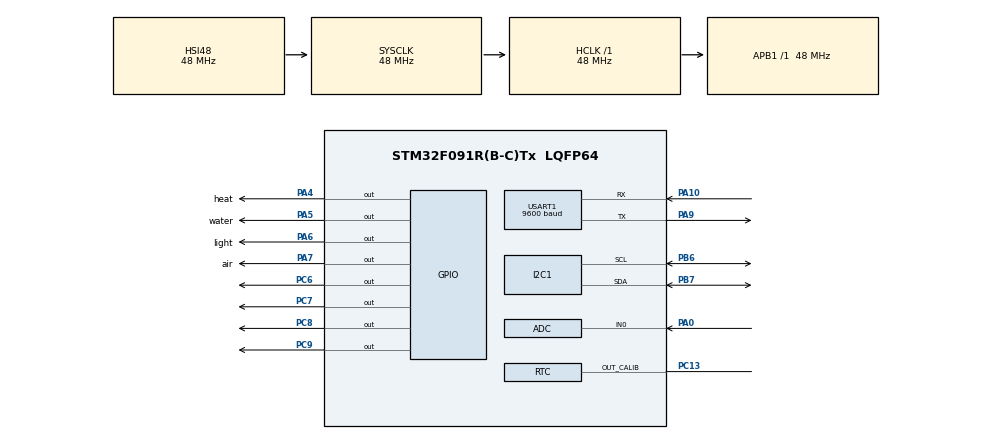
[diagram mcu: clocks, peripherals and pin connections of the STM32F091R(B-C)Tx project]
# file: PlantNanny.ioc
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ADC.DataAlign=ADC_DATAALIGN_RIGHT
ADC.Resolution=ADC_RESOLUTION_8B
ADC.SamplingTime=ADC_SAMPLETIME_1CYCLE_5
Mcu.Family=STM32F0
Mcu.Name=STM32F091R(B-C)Tx
Mcu.Package=LQFP64
NVIC.USART1_IRQn=true\:0\:0\:false\:false\:true\:true\:true
PA0.Mode=IN0
PA0.Signal=ADC_IN0
PA10.Mode=Asynchronous
PA10.Signal=USART1_RX
PA4.GPIO_Label=heat
PA4.Signal=GPIO_Output
PA5.GPIO_Label=water
PA5.Signal=GPIO_Output
PA6.GPIO_Label=light
PA6.Signal=GPIO_Output
PA7.GPIO_Label=air
PA7.Signal=GPIO_Output
PA9.Mode=Asynchronous
PA9.Signal=USART1_TX
PB6.GPIO_Pu=GPIO_PULLUP
PB6.Mode=I2C
PB6.Signal=I2C1_SCL
PB7.GPIO_Pu=GPIO_PULLUP
PB7.Mode=I2C
PB7.Signal=I2C1_SDA
PC13.Mode=Calibration_1Hz
PC13.Signal=RTC_OUT_CALIB
PC6.PinState=GPIO_PIN_RESET
PC6.Signal=GPIO_Output
PC7.Signal=GPIO_Output
PC8.PinState=GPIO_PIN_RESET
PC8.Signal=GPIO_Output
PC9.Signal=GPIO_Output
ProjectManager.HeapSize=0x200
ProjectManager.StackSize=0x400
ProjectManager.TargetToolchain=STM32CubeIDE
RCC.AHBFreq_Value=48000000
RCC.APB1Freq_Value=48000000
RCC.APB1TimFreq_Value=48000000
RCC.HCLKFreq_Value=48000000
RCC.PLLMUL=RCC_PLL_MUL16
RCC.SYSCLKFreq_VALUE=48000000
RCC.SYSCLKSource=RCC_SYSCLKSOURCE_HSI48
USART1.BaudRate=9600
USART1.DMADisableonRxErrorParam=ADVFEATURE_DMA_DISABLEONRXERROR
USART1.Mode=MODE_TX_RX
USART1.OverrunDisableParam=ADVFEATURE_OVERRUN_DISABLE
USART1.VirtualMode-Asynchronous=VM_ASYNC
USART1.VirtualMode-Half_duplex(single_wire_mode)=VM_ASYNC
VP_RTC_VS_RTC_Activate.Mode=RTC_Enabled
board=custom

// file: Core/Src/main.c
/* USER CODE BEGIN Header */
/**
  ******************************************************************************
  * @file           : main.c
  * @brief          : Main program body
  ******************************************************************************
  * @attention
  *
  * <h2><center>&copy; Copyright (c) 2021 STMicroelectronics.
  * All rights reserved.</center></h2>
  *
  * This software component is licensed by ST under BSD 3-Clause license,
  * the "License"; You may not use this file except in compliance with the
  * License. You may obtain a copy of the License at:
  *                        opensource.org/licenses/BSD-3-Clause
  *
  ******************************************************************************
  */
/* USER CODE END Header */
#include "main.h"

/* USER CODE BEGIN Includes */
#include <stdio.h>
#include <string.h>
//#include <eeprom.h>

/* USER CODE END Includes */

/* USER CODE BEGIN PD */
#define CCS811_I2C_ADDR 0x5A
#define CCS811_BOOTLOADER_APP_START 0xF4
#define CCS811_REG_STATUS 0x00
#define CCS811_REG_MEAS_MODE 0x01
#define CCS811_REG_ALG_RESULT_DATA 0x02
#define CCS811_REG_ERROR_ID 0xE0

#define SHT30_I2C_ADDR 0x44
#define SHT30_COMMAND_READ_ONESHOT 0x2C10
#define SHT30_COMMAND_START_PERIODIC 0x2B32
#define SHT30_COMMAND_STOP_PERIODIC 0x3093
#define SHT30_COMMAND_READ_DATA 0xE000  // followed by I2C read header, returns 6 bytes (temp MSB, temp LSB, CRC, hum MSB, hum LSB, CRC)
#define SHT30_COMMAND_SOFT_RESET 0x30A2
#define SHT30_COMMAND_START_HEATER 0x306D
#define SHT30_COMMAND_STOP_HEATER 0x3066
#define SHT30_COMMAND_READ_STATUS 0xF32D // followed by I2C read header, returns 3 bytes (register MSB, register LSB, CRC)
#define SHT30_COMMAND_CLEAR_STATUS 0x3041

#define I2C_GENERAL_CALL_RESET 0x0006

/* USER CODE END PD */

ADC_HandleTypeDef hadc;

I2C_HandleTypeDef hi2c1;

RTC_HandleTypeDef hrtc;

UART_HandleTypeDef huart1;

/* USER CODE BEGIN PV */
typedef struct
{
  uint8_t name[128];
  uint16_t air;
  uint16_t heat;
  uint16_t water;
} environment_t;

typedef struct
{
  uint8_t name[128];
  uint16_t air;
  uint16_t heat;
  uint16_t light;
  uint16_t water;
} setpoint_t;

static volatile uint8_t uart_recv[128] = {0};
static volatile environment_t conditions = {0};
static volatile setpoint_t setpoints = {0};
static volatile uint8_t enable_auto = 0;
static volatile RTC_TimeTypeDef time = {0};
static volatile RTC_DateTypeDef date = {0};
const uint32_t FLASH_DATA_ADDR = 0x0803F000;

/* USER CODE END PV */

void SystemClock_Config(void);
static void MX_GPIO_Init(void);
static void MX_ADC_Init(void);
static void MX_USART1_UART_Init(void);
static void MX_I2C1_Init(void);
static void MX_RTC_Init(void);
/* USER CODE BEGIN PFP */

void flash_write(uint32_t page_address, uint32_t *data, uint32_t num_bytes);
void flash_read(uint32_t page_address, uint8_t *data, uint32_t num_bytes);

static uint8_t CCS811_begin(void);
static uint16_t CCS811_get_eCO2(void);
static void CCS811_check_status(void);

static void SHT30_begin(void);
static uint16_t SHT30_get_temp(void);

static uint16_t EK1940_get_moisture(void);

/* USER CODE END PFP */

int main(void)
{

  /* MCU Configuration--------------------------------------------------------*/

  /* Reset of all peripherals, Initializes the Flash interface and the Systick. */
  HAL_Init();

  /* Configure the system clock */
  SystemClock_Config();

  /* Initialize all configured peripherals */
  MX_GPIO_Init();
  MX_ADC_Init();
  MX_USART1_UART_Init();
  MX_I2C1_Init();
  MX_RTC_Init();
  /* USER CODE BEGIN 2 */

  // initialize sensors

  HAL_Delay(1000);
  HAL_ADCEx_Calibration_Start(&hadc);
  CCS811_begin();
  SHT30_begin();

  // prep first rx transfer
  HAL_UART_Receive_IT(&huart1, uart_recv, 1);

  // demo setpoints
//  strcpy(setpoints.name, "demo");
//  setpoints.air = 550;
//  setpoints.light = 24;
//  setpoints.heat = 81;
//  setpoints.water = 60;
//  enable_auto = 1;

//  uint32_t addr = 0x0803F000;
//  uint64_t data = 0x0123456789ABCDEF;
//  uint64_t data_read = 0;
//  flash_write(addr, &data, 8);
//  flash_read(addr, &data_read, 8);

//  uint32_t sz = sizeof(setpoints);
//  flash_write(addr, &setpoints, sizeof(setpoints));
//  flash_read(addr, &setpoints, sizeof(setpoints));

  flash_read(FLASH_DATA_ADDR, &setpoints, sizeof(setpoints));
  if (setpoints.name[0] != 0xFF)
  {
    enable_auto = 1;
  }

  /* USER CODE END 2 */

  /* Infinite loop */
  /* USER CODE BEGIN WHILE */
  while (1)
  {
    // polling delay
    HAL_Delay(1000);

    // read sensors
    HAL_RTC_GetTime(&hrtc, &time, RTC_FORMAT_BIN);
    HAL_RTC_GetDate(&hrtc, &date, RTC_FORMAT_BIN);
    uint16_t hours = time.Hours;
    uint16_t moisture = EK1940_get_moisture();
    uint16_t co2 = CCS811_get_eCO2();
    uint16_t temp = SHT30_get_temp();

    // update conditions
    conditions.air = co2;
    conditions.heat = temp;
    conditions.water = moisture;

    // if auto control is on, toggle actuators appropriately
    if (enable_auto)
    {
      memcpy(conditions.name, setpoints.name, 128);
      HAL_GPIO_WritePin(light_GPIO_Port,  light_Pin,  (hours < setpoints.light));
      HAL_GPIO_WritePin(air_GPIO_Port,    air_Pin,    (co2 < setpoints.air));
      HAL_GPIO_WritePin(heat_GPIO_Port,   heat_Pin,   (temp < setpoints.heat));
      HAL_GPIO_WritePin(water_GPIO_Port,  water_Pin,  (moisture < setpoints.water));
    }
    /* USER CODE END WHILE */

  }
}

void SystemClock_Config(void)
{
  RCC_OscInitTypeDef RCC_OscInitStruct = {0};
  RCC_ClkInitTypeDef RCC_ClkInitStruct = {0};
  RCC_PeriphCLKInitTypeDef PeriphClkInit = {0};

  /** Initializes the RCC Oscillators according to the specified parameters
  * in the RCC_OscInitTypeDef structure.
  */
  RCC_OscInitStruct.OscillatorType = RCC_OSCILLATORTYPE_HSI|RCC_OSCILLATORTYPE_HSI14
                              |RCC_OSCILLATORTYPE_HSI48|RCC_OSCILLATORTYPE_LSI;
  RCC_OscInitStruct.HSIState = RCC_HSI_ON;
  RCC_OscInitStruct.HSI48State = RCC_HSI48_ON;
  RCC_OscInitStruct.HSI14State = RCC_HSI14_ON;
  RCC_OscInitStruct.HSICalibrationValue = RCC_HSICALIBRATION_DEFAULT;
  RCC_OscInitStruct.HSI14CalibrationValue = 16;
  RCC_OscInitStruct.LSIState = RCC_LSI_ON;
  RCC_OscInitStruct.PLL.PLLState = RCC_PLL_NONE;
  if (HAL_RCC_OscConfig(&RCC_OscInitStruct) != HAL_OK)
  {
    Error_Handler();
  }
  /** Initializes the CPU, AHB and APB buses clocks
  */
  RCC_ClkInitStruct.ClockType = RCC_CLOCKTYPE_HCLK|RCC_CLOCKTYPE_SYSCLK
                              |RCC_CLOCKTYPE_PCLK1;
  RCC_ClkInitStruct.SYSCLKSource = RCC_SYSCLKSOURCE_HSI48;
  RCC_ClkInitStruct.AHBCLKDivider = RCC_SYSCLK_DIV1;
  RCC_ClkInitStruct.APB1CLKDivider = RCC_HCLK_DIV1;

  if (HAL_RCC_ClockConfig(&RCC_ClkInitStruct, FLASH_LATENCY_1) != HAL_OK)
  {
    Error_Handler();
  }
  PeriphClkInit.PeriphClockSelection = RCC_PERIPHCLK_USART1|RCC_PERIPHCLK_I2C1
                              |RCC_PERIPHCLK_RTC;
  PeriphClkInit.Usart1ClockSelection = RCC_USART1CLKSOURCE_PCLK1;
  PeriphClkInit.I2c1ClockSelection = RCC_I2C1CLKSOURCE_HSI;
  PeriphClkInit.RTCClockSelection = RCC_RTCCLKSOURCE_LSI;
  if (HAL_RCCEx_PeriphCLKConfig(&PeriphClkInit) != HAL_OK)
  {
    Error_Handler();
  }
}

static void MX_ADC_Init(void)
{

  ADC_ChannelConfTypeDef sConfig = {0};

  /** Configure the global features of the ADC (Clock, Resolution, Data Alignment and number of conversion)
  */
  hadc.Instance = ADC1;
  hadc.Init.ClockPrescaler = ADC_CLOCK_ASYNC_DIV1;
  hadc.Init.Resolution = ADC_RESOLUTION_8B;
  hadc.Init.DataAlign = ADC_DATAALIGN_RIGHT;
  hadc.Init.ScanConvMode = ADC_SCAN_DIRECTION_FORWARD;
  hadc.Init.EOCSelection = ADC_EOC_SINGLE_CONV;
  hadc.Init.LowPowerAutoWait = DISABLE;
  hadc.Init.LowPowerAutoPowerOff = DISABLE;
  hadc.Init.ContinuousConvMode = DISABLE;
  hadc.Init.DiscontinuousConvMode = DISABLE;
  hadc.Init.ExternalTrigConv = ADC_SOFTWARE_START;
  hadc.Init.ExternalTrigConvEdge = ADC_EXTERNALTRIGCONVEDGE_NONE;
  hadc.Init.DMAContinuousRequests = DISABLE;
  hadc.Init.Overrun = ADC_OVR_DATA_PRESERVED;
  if (HAL_ADC_Init(&hadc) != HAL_OK)
  {
    Error_Handler();
  }
  /** Configure for the selected ADC regular channel to be converted.
  */
  sConfig.Channel = ADC_CHANNEL_0;
  sConfig.Rank = ADC_RANK_CHANNEL_NUMBER;
  sConfig.SamplingTime = ADC_SAMPLETIME_1CYCLE_5;
  if (HAL_ADC_ConfigChannel(&hadc, &sConfig) != HAL_OK)
  {
    Error_Handler();
  }

}

static void MX_I2C1_Init(void)
{

  hi2c1.Instance = I2C1;
  hi2c1.Init.Timing = 0x2000090E;
  hi2c1.Init.OwnAddress1 = 0;
  hi2c1.Init.AddressingMode = I2C_ADDRESSINGMODE_7BIT;
  hi2c1.Init.DualAddressMode = I2C_DUALADDRESS_DISABLE;
  hi2c1.Init.OwnAddress2 = 0;
  hi2c1.Init.OwnAddress2Masks = I2C_OA2_NOMASK;
  hi2c1.Init.GeneralCallMode = I2C_GENERALCALL_DISABLE;
  hi2c1.Init.NoStretchMode = I2C_NOSTRETCH_DISABLE;
  if (HAL_I2C_Init(&hi2c1) != HAL_OK)
  {
    Error_Handler();
  }
  /** Configure Analogue filter
  */
  if (HAL_I2CEx_ConfigAnalogFilter(&hi2c1, I2C_ANALOGFILTER_ENABLE) != HAL_OK)
  {
    Error_Handler();
  }
  /** Configure Digital filter
  */
  if (HAL_I2CEx_ConfigDigitalFilter(&hi2c1, 0) != HAL_OK)
  {
    Error_Handler();
  }

}

static void MX_RTC_Init(void)
{

  /** Initialize RTC Only
  */
  hrtc.Instance = RTC;
  hrtc.Init.HourFormat = RTC_HOURFORMAT_24;
  hrtc.Init.AsynchPrediv = 127;
  hrtc.Init.SynchPrediv = 255;
  hrtc.Init.OutPut = RTC_OUTPUT_DISABLE;
  hrtc.Init.OutPutPolarity = RTC_OUTPUT_POLARITY_HIGH;
  hrtc.Init.OutPutType = RTC_OUTPUT_TYPE_OPENDRAIN;
  if (HAL_RTC_Init(&hrtc) != HAL_OK)
  {
    Error_Handler();
  }
  /** Enable Calibration
  */
  if (HAL_RTCEx_SetCalibrationOutPut(&hrtc, RTC_CALIBOUTPUT_1HZ) != HAL_OK)
  {
    Error_Handler();
  }

}

static void MX_USART1_UART_Init(void)
{

  huart1.Instance = USART1;
  huart1.Init.BaudRate = 9600;
  huart1.Init.WordLength = UART_WORDLENGTH_8B;
  huart1.Init.StopBits = UART_STOPBITS_1;
  huart1.Init.Parity = UART_PARITY_NONE;
  huart1.Init.Mode = UART_MODE_TX_RX;
  huart1.Init.HwFlowCtl = UART_HWCONTROL_NONE;
  huart1.Init.OverSampling = UART_OVERSAMPLING_16;
  huart1.Init.OneBitSampling = UART_ONE_BIT_SAMPLE_DISABLE;
  huart1.AdvancedInit.AdvFeatureInit = UART_ADVFEATURE_RXOVERRUNDISABLE_INIT|UART_ADVFEATURE_DMADISABLEONERROR_INIT;
  huart1.AdvancedInit.OverrunDisable = UART_ADVFEATURE_OVERRUN_DISABLE;
  huart1.AdvancedInit.DMADisableonRxError = UART_ADVFEATURE_DMA_DISABLEONRXERROR;
  if (HAL_UART_Init(&huart1) != HAL_OK)
  {
    Error_Handler();
  }

}

static void MX_GPIO_Init(void)
{
  GPIO_InitTypeDef GPIO_InitStruct = {0};

  /* GPIO Ports Clock Enable */
  __HAL_RCC_GPIOC_CLK_ENABLE();
  __HAL_RCC_GPIOA_CLK_ENABLE();
  __HAL_RCC_GPIOB_CLK_ENABLE();

  /*Configure GPIO pin Output Level */
  HAL_GPIO_WritePin(GPIOA, heat_Pin|water_Pin|light_Pin|air_Pin, GPIO_PIN_RESET);

  /*Configure GPIO pin Output Level */
  HAL_GPIO_WritePin(GPIOC, GPIO_PIN_6|GPIO_PIN_7|GPIO_PIN_8|GPIO_PIN_9, GPIO_PIN_RESET);

  /*Configure GPIO pins : heat_Pin water_Pin light_Pin air_Pin */
  GPIO_InitStruct.Pin = heat_Pin|water_Pin|light_Pin|air_Pin;
  GPIO_InitStruct.Mode = GPIO_MODE_OUTPUT_PP;
  GPIO_InitStruct.Pull = GPIO_NOPULL;
  GPIO_InitStruct.Speed = GPIO_SPEED_FREQ_LOW;
  HAL_GPIO_Init(GPIOA, &GPIO_InitStruct);

  /*Configure GPIO pins : PC6 PC7 PC8 PC9 */
  GPIO_InitStruct.Pin = GPIO_PIN_6|GPIO_PIN_7|GPIO_PIN_8|GPIO_PIN_9;
  GPIO_InitStruct.Mode = GPIO_MODE_OUTPUT_PP;
  GPIO_InitStruct.Pull = GPIO_NOPULL;
  GPIO_InitStruct.Speed = GPIO_SPEED_FREQ_LOW;
  HAL_GPIO_Init(GPIOC, &GPIO_InitStruct);

}

/* USER CODE BEGIN 4 */

void flash_write(uint32_t page_address, uint32_t *data, uint32_t num_bytes)
{
  HAL_FLASH_Unlock();
  FLASH_PageErase(page_address);
  CLEAR_BIT (FLASH->CR, (FLASH_CR_PER));
  uint32_t runs = (num_bytes + 3) / 4;
  for (uint32_t i = 0; i < runs; i++)
  {
    HAL_FLASH_Program(FLASH_TYPEPROGRAM_WORD, (page_address + 4U * i), *(data + i));
  }
  CLEAR_BIT (FLASH->CR, (FLASH_CR_PG));
  HAL_FLASH_Lock();
}

void flash_read(uint32_t page_address, uint8_t *data, uint32_t num_bytes)
{
  memcpy(data, page_address, num_bytes);
}

static uint8_t CCS811_begin(void)
{
  uint8_t byte_buffer = CCS811_BOOTLOADER_APP_START;
  if (HAL_OK != HAL_I2C_Master_Transmit(&hi2c1, CCS811_I2C_ADDR << 1, (uint8_t *) &byte_buffer, 1, 1000))
  {
    return 1;
  }

  byte_buffer = 0b10000;
  if (HAL_OK != HAL_I2C_Mem_Write(&hi2c1, CCS811_I2C_ADDR << 1, CCS811_REG_MEAS_MODE, 1, &byte_buffer, 1, 1000))
  {
    return 1;
  }

  return 0;
}

static uint16_t CCS811_get_eCO2(void)
{
  uint8_t result[2] = {0};
  if (HAL_OK != HAL_I2C_Mem_Read(&hi2c1, CCS811_I2C_ADDR << 1, CCS811_REG_ALG_RESULT_DATA, 1, (uint8_t *) &result, 2, 1000))
    {
//      while (1);
    }
  return (((uint16_t) result[0] << 8) | (uint16_t) result[1]);
}

static void CCS811_check_status(void)
{
  uint8_t status = 0;
  if (HAL_OK != HAL_I2C_Mem_Read(&hi2c1, CCS811_I2C_ADDR << 1, CCS811_REG_STATUS, 1, &status, 1, 1000))
  {
//    while (1);
  }
  __asm volatile ("nop");
}

static void SHT30_begin(void)
{

}

static uint16_t SHT30_get_temp(void)
{
  uint8_t recv[6] = {0};
  uint16_t temp = 0;
  if (HAL_OK != HAL_I2C_Mem_Read(&hi2c1, SHT30_I2C_ADDR << 1, SHT30_COMMAND_READ_ONESHOT, 2, recv, 6, 1000))
  {
//    while (1);
  }
  temp = (uint16_t) recv[0] << 8 | recv[1];
  return (uint16_t) ((temp / 256 + 0.5) * 315 / 256 - 49); // sensor output to degrees F equation, page 30 of SHT30 datasheet
}

static void SHT30_check_status(void)
{
  uint8_t recv[3] = {0};
  if (HAL_OK != HAL_I2C_Mem_Read(&hi2c1, SHT30_I2C_ADDR << 1, SHT30_COMMAND_READ_STATUS, 2, recv, 3, 1000))
  {
//    while (1);
  }
}

static uint16_t EK1940_get_moisture(void)
{
  HAL_ADC_Start(&hadc);
  HAL_ADC_PollForConversion(&hadc, 1000);
  uint32_t raw = HAL_ADC_GetValue(&hadc);
  return 100 - ((100 * (raw - 75.0)) / (205 - 75));
}

void HAL_UART_RxCpltCallback(UART_HandleTypeDef *huart)
{
  if (uart_recv[0] == 0xAA)
  {
    HAL_UART_Transmit(huart, &conditions, sizeof(conditions), 500);
  }
  else if (uart_recv[0] == 0xBB)
  {
    if (HAL_OK == HAL_UART_Receive(huart, &setpoints, 136, 500))
    {
      flash_write(FLASH_DATA_ADDR, &setpoints, sizeof(setpoints));
      enable_auto = 1;
    }
  }
  else if (uart_recv[0] == 0xCC)
  {
    HAL_GPIO_TogglePin(air_GPIO_Port, air_Pin);
  }
  else if (uart_recv[0] == 0xDD)
  {
    HAL_GPIO_TogglePin(heat_GPIO_Port, heat_Pin);
  }
  else if (uart_recv[0] == 0xEE)
  {
    HAL_GPIO_TogglePin(light_GPIO_Port, light_Pin);
  }
  else if (uart_recv[0] == 0xFF)
  {
    HAL_GPIO_TogglePin(water_GPIO_Port, water_Pin);
  }

  // prep next rx transfer
  HAL_UART_Receive_IT(&huart1, uart_recv, 1);
}

/* USER CODE END 4 */

void Error_Handler(void)
{
  __disable_irq();
  while (1)
  {
  }
}

/************************ (C) COPYRIGHT STMicroelectronics *****END OF FILE****/
